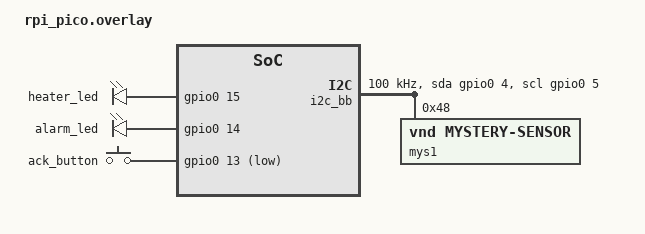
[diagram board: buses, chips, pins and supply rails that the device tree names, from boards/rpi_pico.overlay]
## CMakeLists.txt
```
cmake_minimum_required(VERSION 3.20.0)
find_package(Zephyr REQUIRED HINTS $ENV{ZEPHYR_BASE})
project(lampovahti)

# Kuori (firmware/src): Zephyr- ja rautakoodi.
target_sources(app PRIVATE
    src/main.c
    src/mys1.c
    src/sensor.c
    src/control.c
    src/button.c
    src/shell.c
)

# Ydin (core/): sama puhdas C, joka testataan PC:llä (tests/). Tässä se käännetään Arm-kääntäjällä.
target_sources(app PRIVATE
    ../core/mys1_conv.c
    ../core/controller.c
    ../core/hysteresis.c
    ../core/plausibility.c
    ../core/alarm.c
    ../core/history.c
    ../core/cmd_parse.c
)
target_include_directories(app PRIVATE ../core)
```

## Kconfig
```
# Lämpövahdin omat Kconfig-asetukset.
#
# Oletusarvot ovat oikean raudan arvoja (datalehti, DESIGN.md). Simulaattorille ne ohitetaan
# prj.conf-tiedostossa, koska Wokwissa Zephyrin aika ja simuloitu anturi eivät kulje samaa tahtia
# (DESIGN.md, avoimet kysymykset).

mainmenu "Lampovahti"

# Zephyrin omat asetukset ladataan ensin.
source "Kconfig.zephyr"

menu "Lampovahti"

config LAMPO_SENSOR_PERIOD_MS
	int "Anturin lukujakso (ms)"
	default 1000
	range 100 60000
	help
	  Kuinka usein sensor-thread lukee lämpötilan (F1). Jakso pidetään
	  absoluuttisella ajalla, joten viive ei kerry.

config LAMPO_DRDY_TIMEOUT_MS
	int "Enimmäisodotus DRDY:lle ennen anturivikaa (ms)"
	default 2000
	range 100 60000
	help
	  Jos anturin DRDY-bitti ei nouse tässä ajassa, luku epäonnistuu ja
	  siitä ilmoitetaan anturivikana (F7). Datalehti: "give up after
	  about 2 s".

config LAMPO_HYST_BAND_CENTI
	int "Hystereesikaistan leveys (sadasosa-asteina)"
	default 100
	range 2 500
	help
	  Lämmitin syttyy, kun lämpötila on alle tavoite - kaista/2, ja sammuu,
	  kun se on yli tavoite + kaista/2. Kaistan sisällä tila pysyy (F2).
	  100 = tavoite ± 0.5 °C.

config LAMPO_ALARM_RANGE_CENTI
	int "Sallittu poikkeama tavoitteesta (sadasosa-asteina)"
	default 200
	range 10 5000
	help
	  Lämpötila on sallitulla alueella, kun se on enintään tämän verran
	  tavoitteesta (F3). 200 = ± 2 °C. Raja itse on vielä alueella.

config LAMPO_ALARM_DELAY_MS
	int "Hälytysviive (ms)"
	default 30000
	range 1000 3600000
	help
	  Kuinka kauan lämpötila saa olla yhtäjaksoisesti sallitun alueen
	  ulkopuolella ennen hälytystä (F3). Anturivika hälyttää heti.
	  Sama aika on kuittauksen torkku.

config LAMPO_SILENCE_MS
	int "Sensorin hiljaisuus ennen anturivikaa (ms)"
	default 2500
	range 500 120000
	help
	  Jos sensor-threadista ei kuulu mitään (ei lukemaa eikä vikailmoitusta)
	  tämän ajan, control tulkitsee anturin vikaantuneeksi (DESIGN.md 4.5).
	  Pitää olla suurempi kuin lukujakso + DRDY-aikakatkaisu.

config LAMPO_WDT_TIMEOUT_MS
	int "Vahtikoiran aikaraja (ms)"
	default 3000
	range 1500 8000
	help
	  Jos control-thread ei ruoki vahtikoiraa tämän ajan sisällä, piiri
	  käynnistyy uudelleen (F9). control herää vähintään sekunnin välein,
	  joten 3000 ms jättää kahden kierroksen marginaalin. RP2040:n
	  vahtikoiran enimmäisaika on noin 8.3 s.

endmenu
```

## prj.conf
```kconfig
# Lämpövahti: Kconfig-asetukset. Jokaisella rivillä on syy; ks. DESIGN.md.

# --- Loki (F6) -----------------------------------------------------------------------------
CONFIG_LOG=y
CONFIG_LOG_DEFAULT_LEVEL=3
# Deferred: LOG_* palaa heti, alimman prioriteetin lokithread tulostaa myöhemmin. Ks. DESIGN.md.
CONFIG_LOG_MODE_DEFERRED=y

# --- Anturi (F1) ---------------------------------------------------------------------------
CONFIG_I2C=y

# --- Lämmitin-LED (F2) ja kuittausnappi (F4) ---------------------------------------------------------------------
CONFIG_GPIO=y

# --- Vahtikoira (F9) ----------------------------------------------------------------------
CONFIG_WATCHDOG=y

# --- Shell (F5) -------------------------------------------------------------------------------
# Komennot: lampo status, lampo target <°C>, lampo history (firmware/src/shell.c).
CONFIG_SHELL=y

# --- Wokwi: ajat ---------------------------------------------------------------------------
# Oikean raudan oletukset ovat tiedostossa Kconfig. Wokwissa MYS-1 antaa uuden näytteen noin
# 7 s välein Zephyrin kellolla mitattuna (DESIGN.md, avoimet kysymykset), joten datalehden 2 s
# aikakatkaisu tulkitsisi toimivan anturin rikki menneeksi.
#
# (1) Valitse Wokwille DRDY-aikakatkaisu millisekunteina. Mitattu väli oli noin 7000 ms.
#     Mieti: kuinka paljon marginaalia jätät, ja mitä tapahtuu, jos arvo on liian pieni tai
#     liian suuri? (Liian suuri: kuinka kauan kestää huomata OIKEA anturivika?)
CONFIG_LAMPO_DRDY_TIMEOUT_MS=15000

# Sensorin hiljaisuus: Wokwissa lukemien väli on Zephyrin kellolla noin 7 s, ja DRDY-odotus
# saa kestää 15 s, joten oikean raudan 2.5 s tulkitsisi toimivan anturin hiljaiseksi.
CONFIG_LAMPO_SILENCE_MS=20000

# Hystereesikaista: Wokwin MYS-1 toistaa vain lukuja 22.50–22.93 °C. Oikean raudan ± 0.5 °C
# (22.20–23.20) ei ylittyisi koskaan, joten lämmitin ei vaihtaisi tilaa. ± 0.15 °C ylittyy.
CONFIG_LAMPO_HYST_BAND_CENTI=30
```

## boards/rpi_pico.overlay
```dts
/* boards/rpi_pico.overlay: Lämpövahdin laitteet Picolla.
 *
 * Tämä on AINOA tiedosto, joka tietää pinnit (N2). Build lukee sen automaattisesti, koska nimi
 * vastaa laudan nimeä (rpi_pico).
 *
 *   GP4 = SDA, GP5 = SCL   MYS-1-anturi, I2C-osoite 0x48
 *   GP15                   lämmitin-LED (aktiivinen ylhäällä)
 *   GP14                   hälytys-LED (aktiivinen ylhäällä)
 *   GP13                   kuittausnappi (aktiivinen alhaalla, sisäinen pull-up)
 */
#include <zephyr/dt-bindings/gpio/gpio.h>
#include <zephyr/dt-bindings/i2c/i2c.h>
#include <zephyr/dt-bindings/input/input-event-codes.h>

/* P5: Zephyrin rautainen I2C-ajuri ei saa vastausta Wokwissa (aikakatkaisu, error -116).
 * Siksi rautainen väylä kytketään pois ja samat pinnit ohjataan ohjelmallisella gpio-i2c-ajurilla.
 * Oikealla Picolla palattaisiin &i2c0:aan muuttamalla vain tätä tiedostoa. */
&i2c0 {
	status = "disabled";
};

/ {
	i2c_bb: i2c-gpio {
		compatible = "gpio-i2c";
		status = "okay";
		clock-frequency = <I2C_BITRATE_STANDARD>;
		sda-gpios = <&gpio0 4 (GPIO_OPEN_DRAIN | GPIO_PULL_UP)>;
		scl-gpios = <&gpio0 5 (GPIO_OPEN_DRAIN | GPIO_PULL_UP)>;
		#address-cells = <1>;
		#size-cells = <0>;

		/* Anturi on väylän "lapsi": se on kytketty juuri tähän väylään.
		 * Label "mys1" on nimi, jolla C-koodi löytää solmun (DT_NODELABEL(mys1)). */
		mys1: mys1@48 {
			/* (1) Laitetyyppi: sama merkkijono kuin binding-tiedoston compatible-rivillä
			 *     (firmware/dts/bindings/sensor/vnd,mystery-sensor.yaml).
			 *     Mitä tapahtuisi, jos tämä rivi puuttuisi? (lesson 94) */
			compatible = "vnd,mystery-sensor";

			/* (2) I2C-osoite. 7-bittinen vai 8-bittinen muoto? (lesson 96) */
			reg = <0x48>;
		};
	};

	/* Lämmitin-LED. gpio-leds on Zephyrin valmis binding "LEDit GPIO-pinneissä".
	 * Label heater_led on nimi, jolla control.c löytää sen (DT_NODELABEL(heater_led)). */
	heater_leds {
		compatible = "gpio-leds";
		heater_led: heater_led {
			gpios = <&gpio0 15 GPIO_ACTIVE_HIGH>;
		};
		alarm_led: alarm_led {
			gpios = <&gpio0 14 GPIO_ACTIVE_HIGH>;
		};
	};

	/* Kuittausnappi. Nappi kytkee pinnin maahan, joten painettuna pinni on 0 V: siksi
	 * GPIO_ACTIVE_LOW. Sisäinen pull-up pitää pinnin ylhäällä, kun nappia ei paineta,
	 * joten ulkoista vastusta ei tarvita. Label ack_button: button.c löytää solmun tällä. */
	buttons {
		compatible = "gpio-keys";
		ack_button: ack_button {
			gpios = <&gpio0 13 (GPIO_PULL_UP | GPIO_ACTIVE_LOW)>;
			zephyr,code = <INPUT_KEY_0>;
		};
	};
};
```

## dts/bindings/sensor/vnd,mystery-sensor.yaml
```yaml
# Binding MYS-1-lämpötila-anturille (kurssin opetuspiiri, lesson 63: WHO_AM_I 0xA7, I2C-osoite 0x48).
#
# Zephyr ei tunne tätä anturia, joten binding kertoo, millainen laite "vnd,mystery-sensor" on.
# Se ei lisää mitään i2c-device.yaml:iin: solmu saa reg-ominaisuuden (osoite) ja tiedon väylästä.
# Zephyrin ajuria ei ole; firmware puhuu anturille suoraan i2c_dt_spec-rakenteen kautta.
description: MYS-1 I2C temperature sensor (course teaching part)

compatible: "vnd,mystery-sensor"

include: i2c-device.yaml
```

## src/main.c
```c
/* main.c: Lämpövahdin käynnistys.
 *
 * Threadit käynnistyvät itse (K_THREAD_DEFINE), joten main vain ilmoittaa käynnistyksestä.
 * WHO_AM_I-tarkistus siirtyi anturin ajuriin (mys1.c, mys1_init), koska se kuuluu anturille.
 */
#include <zephyr/kernel.h>
#include <zephyr/logging/log.h>

LOG_MODULE_REGISTER(main, LOG_LEVEL_INF);

int main(void)
{
    LOG_INF("Lampovahti kaynnistyy");
    return 0;
}
```

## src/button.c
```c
/* button.c: kuittausnappi (F4, DESIGN.md vaihe 6). Kuorta: keskeytys, ajastus ja pinnit.
 *
 * Kulku:
 *   painallus → keskeytys (button_isr) → odotetaan DEBOUNCE_MS → luetaan pinni uudelleen
 *            → jos yhä alhaalla: EV_BUTTON postilaatikkoon → control → decide() kuittaa.
 *
 * Värähtely suodatetaan täällä kuoressa, ei ISR:ssä eikä ytimessä:
 *   - ISR ei saa odottaa, joten se vain käynnistää ajastetun työn (k_work_delayable).
 *   - Ytimeen ei kannata viedä jokaista reunaa: yksi painallus antaa kymmeniä reunoja, ja ne
 *     täyttäisivät 8 paikan postilaatikon, jolloin sensorin lukemia putoaisi pois.
 * Työ ajetaan Zephyrin järjestelmän työjonossa (system workqueue), eli tavallisessa threadissa.
 */
#include <zephyr/kernel.h>
#include <zephyr/drivers/gpio.h>
#include <zephyr/init.h>
#include <zephyr/logging/log.h>

#include "control.h"

LOG_MODULE_REGISTER(button, LOG_LEVEL_INF);

#define DEBOUNCE_MS 30      /* mekaanisen napin värähtely kestää tyypillisesti 5–20 ms */

/* Nappi devicetreestä (boards/rpi_pico.overlay): GP13, aktiivinen alhaalla, sisäinen pull-up.
 * GPIO_ACTIVE_LOW-lipun ansiosta gpio_pin_get_dt() palauttaa 1, kun nappi on POHJASSA,
 * vaikka pinni on silloin 0 V. Koodin ei tarvitse tietää kytkennän napaisuutta. */
static const struct gpio_dt_spec ack_button = GPIO_DT_SPEC_GET(DT_NODELABEL(ack_button), gpios);

static struct gpio_callback button_cb;

static void debounce_done(struct k_work *work);
static K_WORK_DELAYABLE_DEFINE(debounce_work, debounce_done);

/* Ajetaan työjonon threadissa DEBOUNCE_MS viimeisen reunan jälkeen. */
static void debounce_done(struct k_work *work)
{
    ARG_UNUSED(work);

    /* K2: Miksi pinni luetaan tässä vielä kerran? Keskeytyshän jo kertoi, että nappia painettiin.
     *     Mieti: mitä tapahtuu, kun nappi PÄÄSTETÄÄN irti? Sekin värähtelee.
     *     Vastaus: värähtelyn takia varmaa
     */
    if (gpio_pin_get_dt(&ack_button) != 1) {
        return;
    }

    struct event ev = { .type = EV_BUTTON, .centi = 0 };
    if (control_post(ev) != 0) {
        LOG_WRN("postilaatikko taynna, painallus hukattiin");
    }
}

/* Keskeytyskäsittelijä: lyhyt, ei odota mitään. */
static void button_isr(const struct device *dev, struct gpio_callback *cb, uint32_t pins)
{
    ARG_UNUSED(dev);
    ARG_UNUSED(cb);
    ARG_UNUSED(pins);

    /* K1: k_work_schedule ei tee mitään, jos työ on jo ajastettu: ensimmäinen määräaika jää
     *     voimaan. k_work_reschedule siirtää määräajan aina DEBOUNCE_MS eteenpäin tästä hetkestä.
     *     Kumpi sopii värähtelyyn, ja miksi? (Yksi painallus = noin 20 reunaa 10 ms aikana.)
     *     Vastaus: k_work_reschedule sopii, koska se varmistaa, että värähtely on päättynyt ennen kuin nappi käsitellään.
     */
    k_work_reschedule(&debounce_work, K_MSEC(DEBOUNCE_MS));
}

/* Ajetaan kerran käynnistyksessä ennen main():ia (SYS_INIT alla). */
static int button_init(void)
{
    if (!gpio_is_ready_dt(&ack_button)) {
        LOG_ERR("nappi ei valmis");
        return -ENODEV;
    }

    int rc = gpio_pin_configure_dt(&ack_button, GPIO_INPUT);
    if (rc == 0) {
        /* Keskeytys reunasta "ei pohjassa → pohjassa". */
        rc = gpio_pin_interrupt_configure_dt(&ack_button, GPIO_INT_EDGE_TO_ACTIVE);
    }
    if (rc != 0) {
        LOG_ERR("napin asetus epaonnistui (%d)", rc);
        return rc;
    }

    gpio_init_callback(&button_cb, button_isr, BIT(ack_button.pin));
    gpio_add_callback(ack_button.port, &button_cb);
    return 0;
}

SYS_INIT(button_init, APPLICATION, CONFIG_APPLICATION_INIT_PRIORITY);
```

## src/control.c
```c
/* control.c: control-thread (DESIGN.md 4.1–4.3). Kuori ytimen decide()-funktion ympärillä.
 *
 * Kuori TEKEE: odottaa postia, kysyy ajan, sytyttää LEDin, lokittaa.
 * Ydin PÄÄTTÄÄ: decide() (core/controller.c), testattu PC:llä.
 *
 * Täytä aukot ____ ja vastaa kysymyksiin K1–K4 kommentteihin. API-nimet on annettu
 * kysymysten yhteydessä; mieti, mikä niistä sopii ja miksi.
 */
#include <zephyr/kernel.h>
#include <zephyr/drivers/gpio.h>
#include <zephyr/drivers/watchdog.h>
#include <zephyr/logging/log.h>

#include "control.h"
#include "controller.h"

LOG_MODULE_REGISTER(control, LOG_LEVEL_INF);

#define CONTROL_STACK_SIZE  1024    /* tavuina, mitataan myöhemmin (lesson 91) */
#define INBOX_DEPTH         8       /* tapahtumaa */
#define WAKE_MS             1000    /* control herää vähintään näin usein, vaikka postia ei tule */
#define TARGET_CENTI        2270    /* 22.70 °C: Wokwin MYS-1 kiertää 22.50–22.93, joten LED vaihtuu */

/* Postilaatikko: varataan käännösaikana (ei mallocia). Viestin koko on struct eventin koko,
 * ja viimeinen luku on tasaus tavuina. */
K_MSGQ_DEFINE(inbox, sizeof(struct event), INBOX_DEPTH, 4);

/* LEDit devicetreestä (boards/rpi_pico.overlay). */
static const struct gpio_dt_spec heater_led = GPIO_DT_SPEC_GET(DT_NODELABEL(heater_led), gpios);
static const struct gpio_dt_spec alarm_led  = GPIO_DT_SPEC_GET(DT_NODELABEL(alarm_led), gpios);

/* Hälytys-LED vilkkuu 2 Hz k_timerilla (DESIGN.md 4.4): ei omaa threadia, koska vilkutus
 * on vain pinnin kääntö. Ajastimen funktio ajetaan keskeytyksessä, joten se ei saa odottaa;
 * gpio_pin_toggle_dt ei odota. */
#define ALARM_BLINK_MS  250     /* 250 ms päällä + 250 ms pois = 2 Hz */

static void alarm_blink(struct k_timer *timer)
{
    ARG_UNUSED(timer);
    gpio_pin_toggle_dt(&alarm_led);
}

K_TIMER_DEFINE(alarm_timer, alarm_blink, NULL);

/* Vahtikoira (F9, DESIGN.md 4.5). Laudan devicetree antaa sille aliaksen watchdog0. */
static const struct device *const wdt = DEVICE_DT_GET(DT_ALIAS(watchdog0));

/* Käynnistää vahtikoiran. Palauttaa kanavan numeron (>= 0) tai virheen (< 0). */
static int watchdog_start(void)
{
    if (!device_is_ready(wdt)) {
        return -ENODEV;
    }
    struct wdt_timeout_cfg cfg = {
        .window.min = 0,                        /* ruokkia saa milloin tahansa */
        .window.max = CONFIG_LAMPO_WDT_TIMEOUT_MS,
        .callback = NULL,
        .flags = WDT_FLAG_RESET_SOC,            /* koko piiri: myös GPIO:t nollautuvat → lämmitin pois */
    };
    int ch = wdt_install_timeout(wdt, &cfg);
    if (ch < 0) {
        return ch;
    }
    /* Debuggerin pysäyttäessä vahtikoira pysähtyy, muuten jokainen breakpoint olisi reset. */
    int rc = wdt_setup(wdt, WDT_OPT_PAUSE_HALTED_BY_DBG);
    return (rc < 0) ? rc : ch;
}

/* Valokuva shellille. Koko järjestelmän AINOA mutex: se suojaa vain tätä kopiota, ja kumpikin
 * pitää sitä vain kopioinnin ajan (noin 0.5 kt memcpy, mikrosekunteja). */
static struct state snap;
K_MUTEX_DEFINE(snap_lock);

void control_snapshot(struct state *out)
{
    k_mutex_lock(&snap_lock, K_FOREVER);
    *out = snap;
    k_mutex_unlock(&snap_lock);
}

int control_post(struct event ev)
{
    /* K1: Aikakatkaisu: K_NO_WAIT (ei odota) vai K_FOREVER (odottaa, kunnes laatikossa on tilaa)?
     *     Mieti: mitä sensor-threadille tapahtuu, jos control on jumissa ja laatikko täynnä?
     *     Ja vaiheessa 6 tätä kutsuu napin KESKEYTYS. (DESIGN.md 4.2, "Täysi postilaatikko")
     *     Vastaus:
     */
    return k_msgq_put(&inbox, &ev, K_NO_WAIT);
}

static void control_thread(void *p1, void *p2, void *p3)
{
    ARG_UNUSED(p1);
    ARG_UNUSED(p2);
    ARG_UNUSED(p3);

    if (!gpio_is_ready_dt(&heater_led) || !gpio_is_ready_dt(&alarm_led)) {
        LOG_ERR("LEDit eivat valmiita");
        return;
    }
    /* Lähtötila: GPIO_OUTPUT_ACTIVE (pinni heti päälle) vai GPIO_OUTPUT_INACTIVE (heti pois)?
     * Mieti: mitä lämmitin tekee sinä aikana, kun ensimmäistä lukemaa vielä odotetaan? (F7) */
    int rc = gpio_pin_configure_dt(&heater_led, GPIO_OUTPUT_INACTIVE);
    if (rc == 0) {
        rc = gpio_pin_configure_dt(&alarm_led, GPIO_OUTPUT_INACTIVE);
    }
    if (rc != 0) {
        LOG_ERR("LEDien asetus epaonnistui (%d)", rc);
        return;
    }

    /* Tila on näkyvissä vain tässä funktiossa: yksi kirjoittaja, joten lukkoja ei tarvita
     * (DESIGN.md 4.2). static: tila on noin 0.5 kt (historia 32 riviä), joten se ei mahdu
     * threadin 1024 tavun pinoon. static sijoittaa sen RAMiin käännösaikana; näkyvyys
     * pysyy silti vain tässä funktiossa. Alustus tehdään kerran, ei jokaisella kutsulla. */
    static struct state st = {
        .target_centi = TARGET_CENTI,
        .band_centi   = CONFIG_LAMPO_HYST_BAND_CENTI,
        .alarm_range_centi = CONFIG_LAMPO_ALARM_RANGE_CENTI,
        .alarm_delay_ms    = CONFIG_LAMPO_ALARM_DELAY_MS,
        .silence_ms        = CONFIG_LAMPO_SILENCE_MS,
        .heater_on    = false,          /* sama kuin LEDin lähtötila (INACTIVE) */
    };
    bool heater_was_on = false;
    bool alarm_was_on  = false;

    k_mutex_lock(&snap_lock, K_FOREVER);
    snap = st;                  /* shell näkee asetukset jo ennen ensimmäistä lukemaa */
    k_mutex_unlock(&snap_lock);

    /* Vahtikoira käynnistetään vasta, kun LEDit ovat turvallisessa tilassa (pois). Jos se ei
     * käynnisty, jatketaan ilman: laite toimii, mutta toinen turvakerros puuttuu, ja se näkyy
     * lokissa virheenä. */
    int wdt_ch = watchdog_start();
    if (wdt_ch < 0) {
        LOG_ERR("vahtikoira ei kaynnistynyt (%d)", wdt_ch);
    } else {
        LOG_INF("vahtikoira paalla, aikaraja %d ms", CONFIG_LAMPO_WDT_TIMEOUT_MS);
    }

    LOG_INF("control kaynnissa, tavoite %d.%02d C", TARGET_CENTI / 100, TARGET_CENTI % 100);

    while (1) {
        struct event ev;
        /* Odotetaan postia enintään WAKE_MS. Jos postia ei tule, decide() saa EV_TICKin: se
         * tarkistaa, onko sensor hiljaa, ja silmukka ehtii ruokkia vahtikoiran. K_FOREVER
         * jumittaisi tähän, jos sensor kuolee, ja vahtikoira käynnistäisi laitteen uudelleen
         * yhä uudestaan ilman hälytystä tai lokia (DESIGN.md 4.5, hylätyt). */
        if (k_msgq_get(&inbox, &ev, K_MSEC(WAKE_MS)) != 0) {
            ev = (struct event){ .type = EV_TICK, .centi = 0 };
        }

        /* K3: Miksi tila annetaan osoitteena (&st) mutta tapahtuma arvona (ev)?
         *     Mieti: kumpaa decide() muuttaa, ja minkä muutosten pitää säilyä seuraavaan kertaan?
         *     Vastaus: tila annetaan osoitteena, koska decide voi muuttaa sen tilaa, mutta tapahtumaa ei anneta osoitteena, koska decide ei muuta sitä. Tapahtuma on vain syöte, eikä sen muutosten tarvitse säilyä seuraavaan kertaan. */
        struct actions act = decide(&st, ev, k_uptime_get_32());

        k_mutex_lock(&snap_lock, K_FOREVER);
        snap = st;
        k_mutex_unlock(&snap_lock);

        gpio_pin_set_dt(&heater_led, act.heater_on);
        if (act.heater_on != heater_was_on) {
            LOG_INF("lammitin %s", act.heater_on ? "PAALLE" : "POIS");
            heater_was_on = act.heater_on;
        }

        /* Hälytys: kuori toteuttaa vilkutuksen ja kirjaa muutoksen lokiin (F6). */
        if (act.alarm_on != alarm_was_on) {
            if (act.alarm_on) {
                LOG_WRN("HALYTYS");
                k_timer_start(&alarm_timer, K_MSEC(ALARM_BLINK_MS), K_MSEC(ALARM_BLINK_MS));
            } else {
                LOG_INF("halytys kuitattu");
                k_timer_stop(&alarm_timer);
                gpio_pin_set_dt(&alarm_led, 0);
            }
            alarm_was_on = act.alarm_on;
        }

        /* Ruokinta VAIN täällä, kierroksen lopussa: ruokinta todistaa, että koko kierros
         * (odotus, päätös, LEDit) meni läpi. Erillinen ruokintathread ruokkisi, vaikka tämä
         * silmukka olisi jumissa (DESIGN.md 4.5, "ruokkijan pitää olla se, jonka toiminta
         * halutaan todistaa"). */
        if (wdt_ch >= 0) {
            wdt_feed(wdt, wdt_ch);
        }
    }
}

/* K4: Prioriteetti DESIGN.md 4.4:stä. Pienempi numero = kiireellisempi.
 *     Miksi controlin pitää olla kiireellisempi kuin sensorin (4)?
 *     Vastaus:
 *     Vastaus: Koska control-thread on vastuussa lämmitin-LEDin ohjauksesta, se pitää olla kiireellisempi kuin sensor-thread, jotta lämmitin voidaan ohjata nopeasti.
 */
K_THREAD_DEFINE(control_tid, CONTROL_STACK_SIZE, control_thread, NULL, NULL, NULL,
                K_PRIO_PREEMPT(2), 0, 0);
```

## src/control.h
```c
/* control.h: control-threadin postilaatikko (DESIGN.md 4.2).
 *
 * Muut threadit (ja myöhemmin napin keskeytys) eivät näe postilaatikkoa suoraan: ne kutsuvat
 * control_post(). Näin laatikon koko, odotusaika ja pudotusten käsittely ovat yhdessä paikassa.
 */
#ifndef CONTROL_H
#define CONTROL_H

#include "controller.h"

/* Lähettää tapahtuman control-threadille. Ei odota koskaan.
 * Palauttaa 0, tai negatiivisen virhekoodin, jos laatikko oli täynnä (tapahtuma pudotettiin). */
int control_post(struct event ev);

/* Valokuva: kopio control-threadin tilasta viimeisimmän tapahtuman jälkeen (DESIGN.md 4.2).
 * Shell lukee tätä, ei control-threadin omaa tilaa. Kopiointi tehdään mutexin takana, joten
 * kopio ei ole koskaan puoliksi päivitetty. Saa kutsua vain threadista (mutex voi odottaa). */
void control_snapshot(struct state *out);

#endif /* CONTROL_H */
```

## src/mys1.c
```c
/* mys1.c: ks. mys1.h. Rekisterikartta: MYS-1:n datalehti (lesson 63), kohta 3.1. */
#include <errno.h>
#include <zephyr/kernel.h>
#include <zephyr/drivers/i2c.h>

#include "mys1.h"
#include "mys1_conv.h"

#define REG_WHO_AM_I    0x0F
#define REG_CTRL        0x20
#define REG_STATUS      0x27
#define REG_TEMP_L      0x28    /* TEMP_L ja TEMP_H luetaan yhdellä kertaa (0x28, 0x29) */

#define WHO_AM_I_VALUE  0xA7
#define CTRL_MEAS_EN    0x01    /* CTRL bitti 0: mittaus päälle */
#define STATUS_DRDY     0x01    /* STATUS bitti 0: uusi näyte valmis */

#define DRDY_POLL_MS    10      /* datalehti: "poll STATUS every few milliseconds" */

/* Anturi devicetreestä labelilla (boards/rpi_pico.overlay). */
static const struct i2c_dt_spec mys1 = I2C_DT_SPEC_GET(DT_NODELABEL(mys1));

int mys1_init(void)
{
    if (!i2c_is_ready_dt(&mys1)) {
        return -ENODEV;
    }

    uint8_t id;
    if (i2c_reg_read_byte_dt(&mys1, REG_WHO_AM_I, &id) != 0) {
        return -EIO;
    }
    if (id != WHO_AM_I_VALUE) {
        return -ENODEV;                     /* fail fast: väärä piiri */
    }

    return i2c_reg_write_byte_dt(&mys1, REG_CTRL, CTRL_MEAS_EN);
}

int mys1_read_centi(int32_t *centi)
{
    uint32_t start = k_uptime_get_32();

    /* Odota DRDY:tä: tarkista, nuku hetki, tarkista uudelleen. Nukkuessa muut threadit ajavat. */
    while (1) {
        uint8_t status;
        if (i2c_reg_read_byte_dt(&mys1, REG_STATUS, &status) != 0) {
            return -EIO;
        }

        /* (2) Onko DRDY-bitti ylhäällä? Maskaa status-rekisteristä oikea bitti
         *     (sama tekniikka kuin watchdog-kokeilun ENABLE-bitissä). */
        if ((status & STATUS_DRDY) != 0) {
            break;
        }

        /* Wrap-turvallinen aikavertailu (lesson 91): etumerkitön vähennys toimii, vaikka
         * millisekuntilaskuri pyörähtäisi ympäri. */
        if ((uint32_t)(k_uptime_get_32() - start) > CONFIG_LAMPO_DRDY_TIMEOUT_MS) {
            return -ETIMEDOUT;              /* anturi ei tuottanut näytettä: anturivika (F7) */
        }

        k_msleep(DRDY_POLL_MS);
    }

    /* Lue TEMP_L ja TEMP_H yhdellä lukukerralla. TEMP_L lukitsee näytteen, joten tavut ovat
     * samasta näytteestä; TEMP_H:n luku laskee DRDY:n. */
    uint8_t raw[2];
    if (i2c_burst_read_dt(&mys1, REG_TEMP_L, raw, sizeof raw) != 0) {
        return -EIO;
    }

    /* Kaksi tavua yhdeksi etumerkilliseksi 16-bittiseksi luvuksi: high-tavu ylös, low alas. */
    int16_t counts = (int16_t)(((uint16_t)raw[1] << 8) | raw[0]);

    /* (3) Muunna asteiksi YTIMEN funktiolla: se, jonka kirjoitit TDD:llä ja testasit kaikilla
     *     65 536 syötteellä. Tämä rivi on ytimen ja kuoren saumakohta. */
    *centi = mys1_raw_to_centi(counts);
    return 0;
}
```

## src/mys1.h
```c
/* mys1.h: MYS-1-anturin ajuri (kuori: I2C, DRDY-odotus, aikakatkaisu).
 *
 * Muunnos raakaluvusta asteiksi on ytimessä (core/mys1_conv.h), koska se ei tarvitse Zephyriä
 * ja on testattu PC:llä. Tämä tiedosto hoitaa vain sen, mikä vaatii rautaa.
 */
#ifndef MYS1_H
#define MYS1_H

#include <stdint.h>

/* Tarkistaa WHO_AM_I:n (fail fast) ja käynnistää mittauksen.
 * Palauttaa 0, tai negatiivisen virhekoodin: -ENODEV (väylä ei valmis tai väärä piiri),
 * -EIO (väylävirhe). */
int mys1_init(void);

/* Odottaa uutta näytettä (DRDY) enintään CONFIG_LAMPO_DRDY_TIMEOUT_MS ja lukee sen.
 * Odotus nukkuu tarkistusten välissä, joten muut threadit saavat CPU:n.
 * Palauttaa 0 ja kirjoittaa lämpötilan sadasosa-asteina *centi:iin, tai negatiivisen
 * virhekoodin: -ETIMEDOUT (DRDY ei noussut = anturivika, F7), -EIO (väylävirhe). */
int mys1_read_centi(int32_t *centi);

#endif /* MYS1_H */
```

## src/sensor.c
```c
/* sensor.c: sensor-thread (DESIGN.md 4.1). Lukee lämpötilan jaksollisesti.
 *
 * Lukema kirjataan lokiin ja lähetetään control-threadin postilaatikkoon (EV_SAMPLE),
 * vika viestinä EV_SENSOR_FAULT.
 */
#include <zephyr/kernel.h>
#include <zephyr/logging/log.h>

#include "control.h"
#include "mys1.h"

LOG_MODULE_REGISTER(sensor, LOG_LEVEL_INF);

#define SENSOR_STACK_SIZE  1024     /* tavuina (Zephyr), mitataan myöhemmin (lesson 91) */

static void sensor_thread(void *p1, void *p2, void *p3)
{
    ARG_UNUSED(p1);
    ARG_UNUSED(p2);
    ARG_UNUSED(p3);

    int rc = mys1_init();
    if (rc != 0) {
        LOG_ERR("MYS-1 alustus epaonnistui (%d)", rc);
        return;
    }
    LOG_INF("MYS-1 ok, mittaus kaynnissa");

    /* Jakso absoluuttisella ajalla ("sleep until", kuten FreeRTOSin vTaskDelayUntil):
     * seuraava herätys lasketaan edellisestä TAVOITTEESTA, ei siitä milloin herättiin,
     * joten luvun kesto ja Wokwin unen venyminen eivät kerry. */
    int64_t next = k_uptime_get();

    while (1) {
        int32_t centi;
        struct event ev;
        rc = mys1_read_centi(&centi);
        if (rc == 0) {
            /* Etumerkki erikseen: -0.50 °C = -50 sadasosaa, ja -50 / 100 = 0 hävittäisi miinuksen. */
            int32_t mag = (centi < 0) ? -centi : centi;
            LOG_INF("T = %s%d.%02d C", (centi < 0) ? "-" : "", (int)(mag / 100), (int)(mag % 100));
            ev = (struct event){ .type = EV_SAMPLE, .centi = centi };
        } else {
            LOG_ERR("anturivika (%d)", rc);
            ev = (struct event){ .type = EV_SENSOR_FAULT, .centi = 0 };   /* 0: sovittu event.h:ssa */
        }

        if (control_post(ev) != 0) {
            LOG_WRN("postilaatikko taynna, tapahtuma pudotettu");
        }

        /* (4) Seuraava herätys: yksi jakso edellisestä tavoitteesta. Mikä Kconfig-symboli? */
        next += CONFIG_LAMPO_SENSOR_PERIOD_MS;
        k_sleep(K_TIMEOUT_ABS_MS(next));
    }
}

/* (5) Prioriteetti: katso DESIGN.md 4.4. Muista: Zephyrissä pienempi numero = kiireellisempi. */
K_THREAD_DEFINE(sensor_tid, SENSOR_STACK_SIZE, sensor_thread, NULL, NULL, NULL,
                K_PRIO_PREEMPT(4), 0, 0);
```

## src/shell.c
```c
/* shell.c: shell-komennot (F5, DESIGN.md vaihe 7). Kuorta: teksti sisään, teksti ulos.
 *
 *   lampo status            viimeisin lukema, tavoite, lämmitin, hälytys
 *   lampo target <°C>       uusi tavoite, esim. "lampo target 23.5" tai "lampo target 23,5"
 *   lampo history           viimeiset tapahtumat vanhimmasta uusimpaan
 *
 * Komennot ovat lampo-pääkomennon alla, koska Zephyrin shellissä on jo oma "history"
 * (komentohistoria). Oma etuliite pitää ne erillään Zephyrin komennoista.
 *
 * Shell EI muuta tilaa itse: tavoite lähetetään postilaatikkoon (EV_SET_TARGET), ja
 * control-thread on yhä tilan ainoa kirjoittaja. Lukeminen tehdään valokuvasta.
 */
#include <stdio.h>

#include <zephyr/kernel.h>
#include <zephyr/shell/shell.h>

#include "cmd_parse.h"
#include "control.h"

/* Valokuvan kopio. static eikä pinossa: noin 0.5 kt, ja shell-threadin pino on 2 kt.
 * Komennot ajetaan aina shell-threadissa yksi kerrallaan, joten yksi puskuri riittää. */
static struct state view;

/* Sadasosat tekstiksi: -5 → "-0.05". Pelkkä %d.%02d antaisi "0.-5". */
static const char *centi_str(int32_t c, char buf[12])
{
    int32_t a = (c < 0) ? -c : c;
    snprintf(buf, 12, "%s%d.%02d", (c < 0) ? "-" : "", (int)(a / 100), (int)(a % 100));
    return buf;
}

static const char *kind_str(enum history_kind k)
{
    switch (k) {
    case HIST_OK:       return "ok";
    case HIST_REJECTED: return "HYLATTY";
    case HIST_FAULT:    return "VIKA";
    }
    return "?";
}

static int cmd_status(const struct shell *sh, size_t argc, char **argv)
{
    ARG_UNUSED(argc);
    ARG_UNUSED(argv);
    char a[12], b[12];

    control_snapshot(&view);

    size_t n = history_count(&view.history);
    if (n == 0) {
        shell_print(sh, "lukema:    (ei viela)");
    } else {
        struct history_entry e = history_get(&view.history, n - 1);
        if (e.kind == HIST_FAULT) {
            shell_print(sh, "lukema:    VIKA (anturi ei vastaa)");
        } else {
            shell_print(sh, "lukema:    %s C (%s)", centi_str(e.centi, a), kind_str(e.kind));
        }
    }
    shell_print(sh, "tavoite:   %s C (kaista %s C)", centi_str(view.target_centi, a),
                centi_str(view.band_centi, b));
    shell_print(sh, "lammitin:  %s", view.heater_on ? "PAALLA" : "pois");
    shell_print(sh, "halytys:   %s", view.alarm.on ? "PAALLA" : (view.alarm.snoozed ? "kuitattu" : "ei"));
    return 0;
}

static int cmd_target(const struct shell *sh, size_t argc, char **argv)
{
    ARG_UNUSED(argc);       /* shell tarkistaa: tasan yksi argumentti (SHELL_CMD_ARG alla) */
    char a[12], b[12];
    int32_t centi;

    switch (parse_target_centi(argv[1], &centi)) {
    case PARSE_OK:
        break;
    case PARSE_EMPTY:
    case PARSE_SYNTAX:
        shell_error(sh, "'%s' ei ole lampotila. Esimerkki: lampo target 23.5", argv[1]);
        return -EINVAL;
    case PARSE_RANGE:
        shell_error(sh, "sallittu alue %s ... %s C", centi_str(TARGET_MIN_CENTI, a),
                    centi_str(TARGET_MAX_CENTI, b));
        return -EINVAL;
    }

    struct event ev = { .type = EV_SET_TARGET, .centi = centi };
    if (control_post(ev) != 0) {
        shell_error(sh, "postilaatikko taynna, yrita uudelleen");
        return -EBUSY;
    }
    shell_print(sh, "tavoite -> %s C (voimaan seuraavasta lukemasta)", centi_str(centi, a));
    return 0;
}

static int cmd_history(const struct shell *sh, size_t argc, char **argv)
{
    ARG_UNUSED(argc);
    ARG_UNUSED(argv);
    char a[12];

    control_snapshot(&view);

    size_t n = history_count(&view.history);
    if (n == 0) {
        shell_print(sh, "(tyhja)");
        return 0;
    }
    for (size_t i = 0; i < n; i++) {
        struct history_entry e = history_get(&view.history, i);
        if (e.kind == HIST_FAULT) {
            shell_print(sh, "%6u.%03u s        VIKA", e.t_ms / 1000, e.t_ms % 1000);
        } else {
            shell_print(sh, "%6u.%03u s  %7s  %s", e.t_ms / 1000, e.t_ms % 1000,
                        centi_str(e.centi, a), kind_str(e.kind));
        }
    }
    return 0;
}

SHELL_STATIC_SUBCMD_SET_CREATE(sub_lampo,
    SHELL_CMD(status, NULL, "Lukema, tavoite, lammitin ja halytys", cmd_status),
    SHELL_CMD_ARG(target, NULL, "Aseta tavoite: lampo target <C>, esim. 23.5", cmd_target, 2, 0),
    SHELL_CMD(history, NULL, "Viimeiset tapahtumat (vanhin ensin)", cmd_history),
    SHELL_SUBCMD_SET_END
);

SHELL_CMD_REGISTER(lampo, &sub_lampo, "Lampovahdin komennot", NULL);
```
